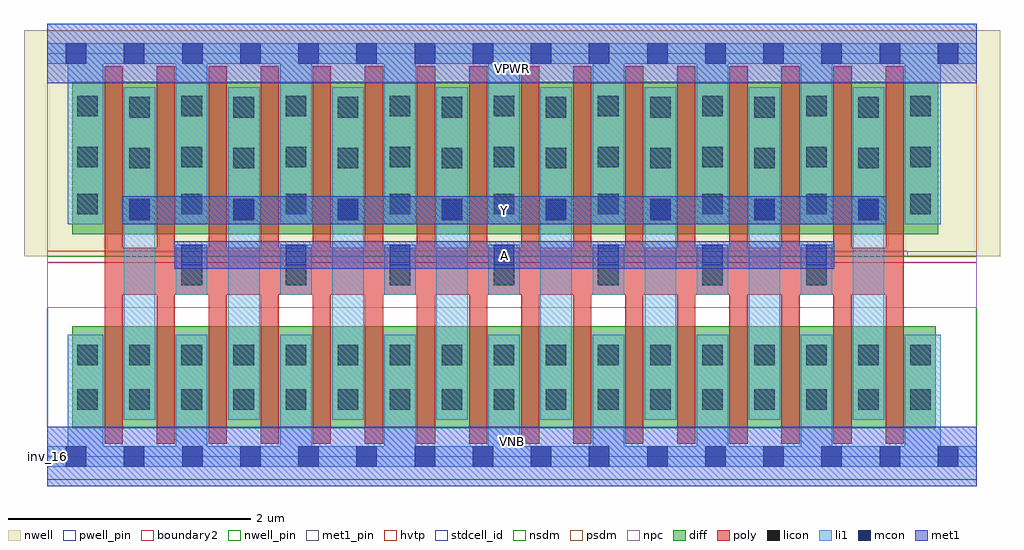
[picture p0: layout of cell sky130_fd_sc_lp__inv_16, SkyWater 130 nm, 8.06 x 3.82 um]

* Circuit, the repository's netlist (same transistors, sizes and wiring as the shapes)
* Copyright 2020 The SkyWater PDK Authors
*
* Licensed under the Apache License, Version 2.0 (the "License");
* you may not use this file except in compliance with the License.
* You may obtain a copy of the License at
*
*     https://www.apache.org/licenses/LICENSE-2.0
*
* Unless required by applicable law or agreed to in writing, software
* distributed under the License is distributed on an "AS IS" BASIS,
* WITHOUT WARRANTIES OR CONDITIONS OF ANY KIND, either express or implied.
* See the License for the specific language governing permissions and
* limitations under the License.
*
* SPDX-License-Identifier: Apache-2.0

.SUBCKT sky130_fd_sc_lp__inv_16 A VGND VNB VPB VPWR Y
*.PININFO A:I VGND:I VNB:I VPB:I VPWR:I Y:O
MMIP1 Y A VPWR VPB sky130_fd_pr__pfet_01v8_hvt m=16 w=1.26U l=0.15U mult=1 sa=0.265
+ sb=0.265 sd=0.28 area=0.063 perim=1.14
MMIN1 Y A VGND VNB sky130_fd_pr__nfet_01v8 m=16 w=0.84U l=0.15U mult=1 sa=0.265
+ sb=0.265 sd=0.28 area=0.063 perim=1.14
.ENDS sky130_fd_sc_lp__inv_16

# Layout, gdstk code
import gdstk
lib = gdstk.Library(unit=1e-6, precision=1e-09)
def R(c, l, rs):  # rectangles x0, y0, x1, y1
    for r in rs: c.add(gdstk.rectangle(r[:2], r[2:], *l))
def A(c, l, x, y, w, h, nx, ny, dx, dy):  # array of equal rectangles
    R(c, l, [(x+i*dx, y+j*dy, x+i*dx+w, y+j*dy+h) for i in range(nx) for j in range(ny)])
def P(c, l, *ps):  # polygons
    for p in ps: c.add(gdstk.Polygon(p, *l))
nwell_pin = (64, 16)
nwell = (64, 20)
diff = (65, 20)
poly = (66, 20)
licon = (66, 44)
li1 = (67, 20)
mcon = (67, 44)
met1_pin = (68, 16)
met1 = (68, 20)
hvtp = (78, 44)
stdcell_id = (81, 4)
nsdm = (93, 44)
psdm = (94, 20)
npc = (95, 20)
pwell_pin = (122, 16)
boundary2 = (236, 0)

sky130_fd_sc_lp__inv_16 = lib.new_cell('sky130_fd_sc_lp__inv_16')
R(sky130_fd_sc_lp__inv_16, nwell_pin, [(0,3.085,7.68,3.33)])
R(sky130_fd_sc_lp__inv_16, nwell, [(-0.19,1.655,7.87,3.52)])
R(sky130_fd_sc_lp__inv_16, diff, [(0.21,0.235,7.34,1.075), (0.21,1.835,7.36,3.095)])
P(sky130_fd_sc_lp__inv_16, poly, [(7.075,3.225),(6.925,3.225),(6.925,1.725),(6.645,1.725),(6.645,3.225),(6.495,3.225),(6.495,1.725),(6.215,1.725),(6.215,3.225),(6.065,3.225),(6.065,1.725),(5.785,1.725),(5.785,3.225),(5.635,3.225),(5.635,1.725),(5.355,1.725),(5.355,3.225),(5.205,3.225),(5.205,1.725),(4.925,1.725),(4.925,3.225),(4.775,3.225),(4.775,1.725),(4.495,1.725),(4.495,3.225),(4.345,3.225),(4.345,1.725),(4.065,1.725),(4.065,3.225),(3.915,3.225),(3.915,1.725),(3.635,1.725),(3.635,3.225),(3.485,3.225),(3.485,1.725),(3.205,1.725),(3.205,3.225),(3.055,3.225),(3.055,1.725),(2.775,1.725),(2.775,3.225),(2.625,3.225),(2.625,1.725),(2.345,1.725),(2.345,3.225),(2.195,3.225),(2.195,1.725),(1.915,1.725),(1.915,3.225),(1.765,3.225),(1.765,1.725),(1.485,1.725),(1.485,3.225),(1.335,3.225),(1.335,1.725),(1.055,1.725),(1.055,3.225),(0.905,3.225),(0.905,1.725),(0.625,1.725),(0.625,3.225),(0.475,3.225),(0.475,0.105),(0.625,0.105),(0.625,1.335),(0.905,1.335),(0.905,0.105),(1.055,0.105),(1.055,1.335),(1.335,1.335),(1.335,0.105),(1.485,0.105),(1.485,1.335),(1.765,1.335),(1.765,0.105),(1.915,0.105),(1.915,1.335),(2.195,1.335),(2.195,0.105),(2.345,0.105),(2.345,1.335),(2.625,1.335),(2.625,0.105),(2.775,0.105),(2.775,1.335),(3.055,1.335),(3.055,0.105),(3.205,0.105),(3.205,1.335),(3.485,1.335),(3.485,0.105),(3.635,0.105),(3.635,1.335),(3.915,1.335),(3.915,0.105),(4.065,0.105),(4.065,1.335),(4.345,1.335),(4.345,0.105),(4.495,0.105),(4.495,1.335),(4.775,1.335),(4.775,0.105),(4.925,0.105),(4.925,1.335),(5.205,1.335),(5.205,0.105),(5.355,0.105),(5.355,1.335),(5.635,1.335),(5.635,0.105),(5.785,0.105),(5.785,1.335),(6.065,1.335),(6.065,0.105),(6.215,0.105),(6.215,1.335),(6.495,1.335),(6.495,0.105),(6.645,0.105),(6.645,1.335),(6.925,1.335),(6.925,0.105),(7.075,0.105)])
A(sky130_fd_sc_lp__inv_16, licon, 0.25, 0.385, 0.17, 0.17, 17, 2, 0.43, 0.37)
A(sky130_fd_sc_lp__inv_16, licon, 1.11, 1.415, 0.17, 0.17, 7, 1, 0.86, 0)
A(sky130_fd_sc_lp__inv_16, licon, 0.68, 1.96, 0.17, 0.17, 8, 3, 0.86, 0.42)
A(sky130_fd_sc_lp__inv_16, licon, 0.25, 2, 0.17, 0.17, 9, 2, 0.86, 0.39)
A(sky130_fd_sc_lp__inv_16, licon, 0.25, 2.81, 0.17, 0.17, 9, 1, 0.86, 0)
A(sky130_fd_sc_lp__inv_16, li1, 0.635, 0.305, 0.26, 2.745, 8, 1, 0.86, 0)
A(sky130_fd_sc_lp__inv_16, li1, 1.065, 1.335, 0.26, 0.415, 7, 1, 0.86, 0)
P(sky130_fd_sc_lp__inv_16, li1, [(7.68,0.085),(7.38,0.085),(7.38,1.005),(7.085,1.005),(7.085,0.085),(6.485,0.085),(6.485,1.005),(6.225,1.005),(6.225,0.085),(5.625,0.085),(5.625,1.005),(5.365,1.005),(5.365,0.085),(4.765,0.085),(4.765,1.005),(4.505,1.005),(4.505,0.085),(3.905,0.085),(3.905,1.005),(3.645,1.005),(3.645,0.085),(3.045,0.085),(3.045,1.005),(2.785,1.005),(2.785,0.085),(2.185,0.085),(2.185,1.005),(1.925,1.005),(1.925,0.085),(1.325,0.085),(1.325,1.005),(1.065,1.005),(1.065,0.085),(0.465,0.085),(0.465,1.005),(0.17,1.005),(0.17,0.085),(0,0.085),(0,-0.085),(7.68,-0.085)],
  [(7.68,3.415),(0,3.415),(0,3.245),(0.17,3.245),(0.17,1.92),(0.465,1.92),(0.465,3.245),(1.065,3.245),(1.065,1.92),(1.325,1.92),(1.325,3.245),(1.925,3.245),(1.925,1.92),(2.185,1.92),(2.185,3.245),(2.785,3.245),(2.785,1.92),(3.045,1.92),(3.045,3.245),(3.645,3.245),(3.645,1.92),(3.905,1.92),(3.905,3.245),(4.505,3.245),(4.505,1.92),(4.765,1.92),(4.765,3.245),(5.365,3.245),(5.365,1.92),(5.625,1.92),(5.625,3.245),(6.225,3.245),(6.225,1.92),(6.485,1.92),(6.485,3.245),(7.085,3.245),(7.085,1.92),(7.38,1.92),(7.38,3.245),(7.68,3.245)])
A(sky130_fd_sc_lp__inv_16, mcon, 0.155, -0.085, 0.17, 0.17, 16, 2, 0.48, 3.33)
A(sky130_fd_sc_lp__inv_16, mcon, 1.11, 1.58, 0.17, 0.17, 7, 1, 0.86, 0)
A(sky130_fd_sc_lp__inv_16, mcon, 0.68, 1.95, 0.17, 0.17, 8, 1, 0.86, 0)
R(sky130_fd_sc_lp__inv_16, met1_pin, [(0,0,7.68,0.245), (1.05,1.55,6.5,1.78), (0.62,1.92,6.93,2.15), (0,3.085,7.68,3.33)])
R(sky130_fd_sc_lp__inv_16, met1, [(0,-0.245,7.68,0.245), (1.05,1.55,6.5,1.78), (0.62,1.92,6.93,2.15), (0,3.085,7.68,3.575)])
R(sky130_fd_sc_lp__inv_16, hvtp, [(0,1.6,7.68,3.33)])
R(sky130_fd_sc_lp__inv_16, stdcell_id, [(0,0,7.68,3.33)])
R(sky130_fd_sc_lp__inv_16, nsdm, [(0,-0.19,7.68,1.655)])
P(sky130_fd_sc_lp__inv_16, psdm, [(7.68,3.52),(0,3.52),(0,1.695),(7.105,1.695),(7.105,1.655),(7.68,1.655)])
R(sky130_fd_sc_lp__inv_16, npc, [(0,1.23,7.68,1.695)])
R(sky130_fd_sc_lp__inv_16, pwell_pin, [(0,0,7.68,0.245)])
R(sky130_fd_sc_lp__inv_16, boundary2, [(0,0,7.68,3.33)])
sky130_fd_sc_lp__inv_16.add(gdstk.Label('VNB', (3.84,0.123), layer=64, texttype=59))
sky130_fd_sc_lp__inv_16.add(gdstk.Label('inv_16', (0,0), layer=83, texttype=44))
sky130_fd_sc_lp__inv_16.add(gdstk.Label('VPWR', (3.84,3.208), layer=68, texttype=5))
sky130_fd_sc_lp__inv_16.add(gdstk.Label('VGND', (3.84,0.123), layer=68, texttype=5))
sky130_fd_sc_lp__inv_16.add(gdstk.Label('Y', (3.775,2.035), layer=68, texttype=5))
sky130_fd_sc_lp__inv_16.add(gdstk.Label('A', (3.775,1.665), layer=68, texttype=5))

lib.write_gds('sky130_fd_sc_lp__inv_16.gds')
